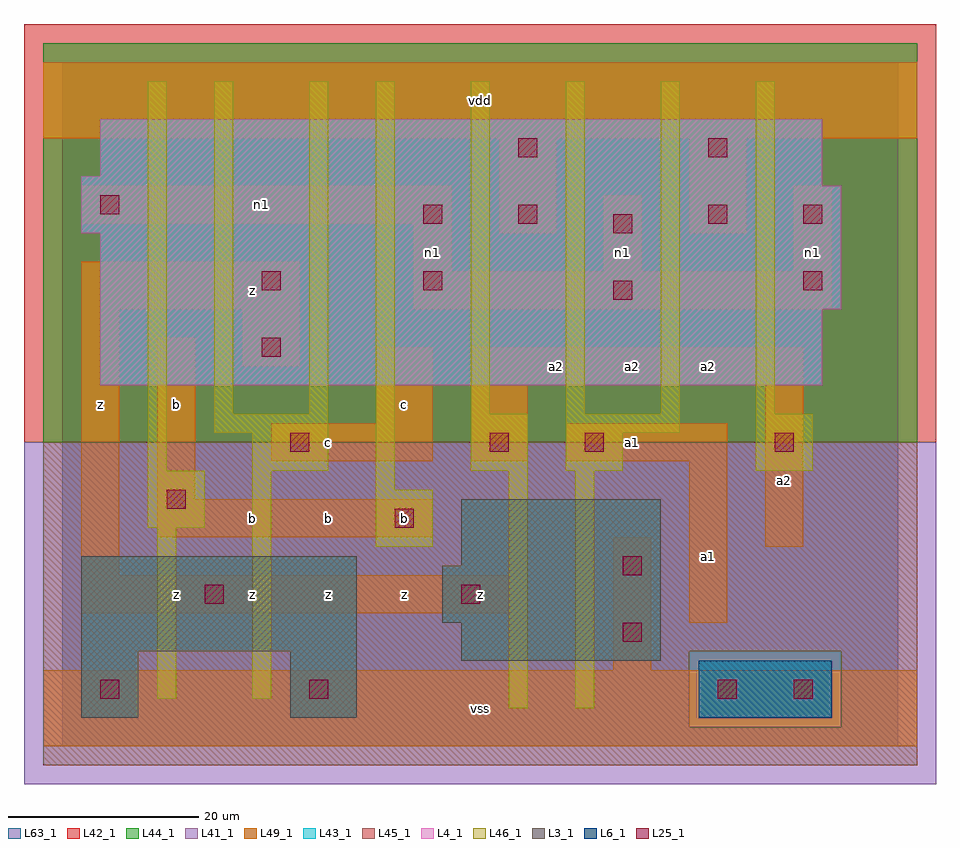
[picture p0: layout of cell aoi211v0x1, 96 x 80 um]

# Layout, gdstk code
import gdstk
lib = gdstk.Library(unit=1e-6, precision=1e-09)
def R(c, l, rs):  # rectangles x0, y0, x1, y1
    for r in rs: c.add(gdstk.rectangle(r[:2], r[2:], *l))
def A(c, l, x, y, w, h, nx, ny, dx, dy):  # array of equal rectangles
    R(c, l, [(x+i*dx, y+j*dy, x+i*dx+w, y+j*dy+h) for i in range(nx) for j in range(ny)])
L3_1 = (3, 1)
L4_1 = (4, 1)
L6_1 = (6, 1)
L25_1 = (25, 1)
L41_1 = (41, 1)
L42_1 = (42, 1)
L43_1 = (43, 1)
L44_1 = (44, 1)
L45_1 = (45, 1)
L46_1 = (46, 1)
L49_1 = (49, 1)
L63_1 = (63, 1)

aoi211v0x1 = lib.new_cell('aoi211v0x1')
R(aoi211v0x1, L3_1, [(2,3,8,10), (24,3,31,10), (42,9,63,13), (2,10,31,20), (40,13,63,19), (42,19,63,26)])
R(aoi211v0x1, L4_1, [(4,38,80,46), (4,46,82,54), (2,54,82,59), (2,59,80,60), (4,60,80,66)])
R(aoi211v0x1, L6_1, [(67,3,81,9), (67,3,81,9)])
R(aoi211v0x1, L25_1, [(4,5,6,7), (26,5,28,7), (69,5,71,7), (77,5,79,7), (59,11,61,13), (15,15,17,17), (42,15,44,17), (59,18,61,20), (35,23,37,25), (11,25,13,27), (24,31,26,33), (45,31,47,33), (55,31,57,33), (75,31,77,33), (21,41,23,43), (58,47,60,49), (21,48,23,50), (38,48,40,50), (78,48,80,50), (58,54,60,56), (38,55,40,57), (48,55,50,57), (68,55,70,57), (78,55,80,57), (4,56,6,58), (48,62,50,64), (68,62,70,64)])
R(aoi211v0x1, L41_1, [(-4,-4,92,32)])
R(aoi211v0x1, L42_1, [(-4,32,92,76)])
R(aoi211v0x1, L43_1, [(2,3,8,10), (24,3,31,10), (67,3,81,9), (42,9,63,13), (2,10,31,20), (40,13,63,19), (42,19,63,26), (4,38,80,46), (4,46,82,54), (2,54,82,59), (2,59,80,60), (4,60,80,66)])
R(aoi211v0x1, L44_1, [(66,2,82,10), (-2,32,90,74)])
R(aoi211v0x1, L45_1, [(-2,-2,90,2), (-2,2,66,10), (82,2,90,10), (-2,10,90,32)])
A(aoi211v0x1, L46_1, 43, 35, 2, 35, 4, 1, 10, 0)
R(aoi211v0x1, L46_1, [(47,4,49,29), (54,4,56,29), (10,5,12,23), (20,5,22,29), (33,21,39,27), (9,23,15,29), (33,27,35,70), (9,29,11,70), (20,29,28,33), (43,29,49,35), (53,29,59,33), (73,29,79,35), (16,33,28,35), (53,33,65,35), (16,35,18,70), (26,35,28,70)])
R(aoi211v0x1, L49_1, [(-2,0,90,8), (58,8,62,22), (66,13,70,30), (2,14,47,18), (2,18,6,46), (74,21,78,38), (10,22,39,26), (10,26,14,43), (22,30,39,34), (43,30,49,38), (53,30,70,34), (33,34,39,42), (43,38,78,42), (19,40,25,46), (2,46,25,51), (37,46,81,50), (37,50,41,55), (57,50,61,58), (77,50,81,59), (46,54,52,64), (66,54,72,64), (2,55,41,59), (-2,64,90,72)])
R(aoi211v0x1, L63_1, [(0,0,88,72)])
aoi211v0x1.add(gdstk.Label('z', (12,16), layer=49, texttype=1))
aoi211v0x1.add(gdstk.Label('z', (4,36), layer=49, texttype=1))
aoi211v0x1.add(gdstk.Label('b', (12,36), layer=49, texttype=1))
aoi211v0x1.add(gdstk.Label('z', (20,16), layer=49, texttype=1))
aoi211v0x1.add(gdstk.Label('z', (28,16), layer=49, texttype=1))
aoi211v0x1.add(gdstk.Label('b', (20,24), layer=49, texttype=1))
aoi211v0x1.add(gdstk.Label('b', (28,24), layer=49, texttype=1))
aoi211v0x1.add(gdstk.Label('c', (28,32), layer=49, texttype=1))
aoi211v0x1.add(gdstk.Label('z', (20,48), layer=49, texttype=1))
aoi211v0x1.add(gdstk.Label('vss', (44,4), layer=49, texttype=1))
aoi211v0x1.add(gdstk.Label('z', (44,16), layer=49, texttype=1))
aoi211v0x1.add(gdstk.Label('z', (36,16), layer=49, texttype=1))
aoi211v0x1.add(gdstk.Label('b', (36,24), layer=49, texttype=1))
aoi211v0x1.add(gdstk.Label('c', (36,36), layer=49, texttype=1))
aoi211v0x1.add(gdstk.Label('n1', (39,52), layer=49, texttype=1))
aoi211v0x1.add(gdstk.Label('n1', (21,57), layer=49, texttype=1))
aoi211v0x1.add(gdstk.Label('vdd', (44,68), layer=49, texttype=1))
aoi211v0x1.add(gdstk.Label('a1', (68,20), layer=49, texttype=1))
aoi211v0x1.add(gdstk.Label('a1', (60,32), layer=49, texttype=1))
aoi211v0x1.add(gdstk.Label('a2', (52,40), layer=49, texttype=1))
aoi211v0x1.add(gdstk.Label('a2', (60,40), layer=49, texttype=1))
aoi211v0x1.add(gdstk.Label('a2', (68,40), layer=49, texttype=1))
aoi211v0x1.add(gdstk.Label('n1', (59,52), layer=49, texttype=1))
aoi211v0x1.add(gdstk.Label('a2', (76,28), layer=49, texttype=1))
aoi211v0x1.add(gdstk.Label('n1', (79,52), layer=49, texttype=1))

lib.write_gds('aoi211v0x1.gds')
